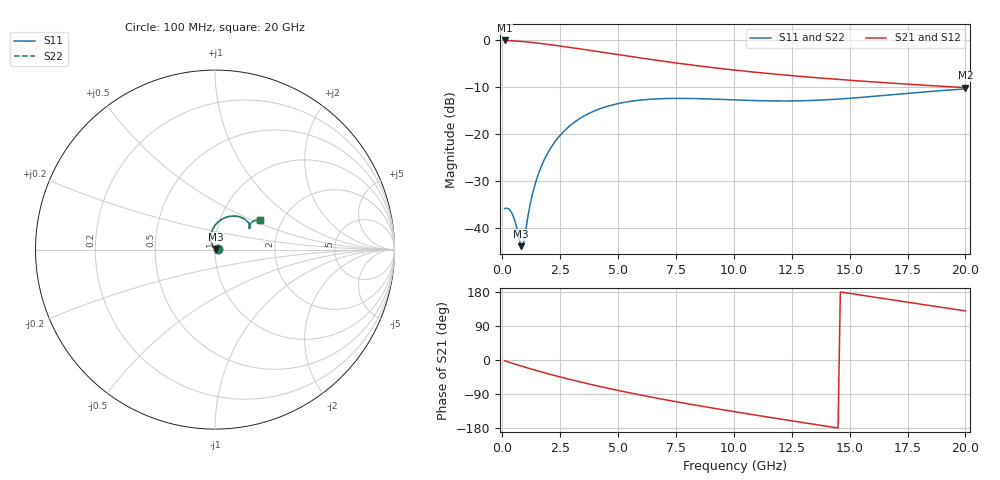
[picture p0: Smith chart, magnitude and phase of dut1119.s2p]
! Touchstone file exported from HFSS 2024.1.0
!  File:  C:/UserFiles/LocalFiles/RDL_TSV_Batchsim/temp_RDL_TSV_1119_1780105869.aedt
!  Generated:  09:58:14 AM May 30, 2026
!  Design:  RDL_TSV
!  Project:  temp_RDL_TSV_1119_1780105869
!  Setup:  Setup1
!  Solution:  Sweep
! Variables:
!  dtsv = 10.68um
!  hbump = 3um
!  htsv = 66.23um
!  ldown = 694.17um
!  lrdl = 354.18um
!  p = 40
!  p1 = 51.52um
!  rhole = 10um
!  subl = 3499.23um
!  t = 450um
!  tdown = 4.08um
!  trdl = 2.23um
!  viad = 10um
!  wdown = 25.38um
!  wrdl = 27.21um
!  xbump = 18um
# GHz S MA R 50.000000
! Terminal data exported
! Port[1] = TM1_1_T1
! Port[2] = TM1_4_T1
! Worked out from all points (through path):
!   200 points, 100 MHz to 20 GHz, reference 50 ohm
!   highest |S21| = -0.15 dB at 100 MHz (marker M1); lowest = -10.1 dB at 20 GHz (marker M2)
!   group delay of S21, straight-line fit = 30.2 ps
!   lowest |S11| = -43.8 dB at 800 MHz (marker M3), VSWR 1.01, Z = 50.5 + j0.431 ohm
!   |S11| at or under -10 dB: start of sweep to end of sweep
!   |S22| runs from -43.8 to -10.4 dB; largest |S21 - S12| = 9.8e-15
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0.1  0.01625 3.0  0.9832 -2.0  0.9832 -2.0  0.01625 3.0
! Gamma 0 0 0 0
! Port Impedance 50 0 50 0
0.3  0.01595 3.8  0.979 -6.0  0.979 -6.0  0.01595 3.8
0.5  0.01298 5.1  0.973 -9.9  0.973 -9.9  0.01298 5.0
0.6  0.01074 9.1  0.9695 -11.8  0.9695 -11.8  0.01074 9.1
0.8  0.00649 41.1  0.9613 -15.6  0.9613 -15.6  0.006482 41.1
0.9  0.006574 75.0  0.9567 -17.5  0.9567 -17.5  0.006564 75.0
1.2  0.01784 117.0  0.9411 -22.9  0.9411 -22.9  0.01783 117.0
1.4  0.02854 119.4  0.9295 -26.5  0.9295 -26.5  0.02854 119.4
1.6  0.04028 117.9  0.9172 -30.0  0.9172 -30.0  0.04029 117.9
1.8  0.05266 114.9  0.9045 -33.4  0.9045 -33.4  0.05267 114.9
2.1  0.07179 109.5  0.8847 -38.3  0.8847 -38.3  0.07181 109.5
2.5  0.09726 101.8  0.8578 -44.7  0.8578 -44.7  0.09729 101.8
3  0.1274 92.4  0.8242 -52.4  0.8242 -52.4  0.1274 92.4
3.5  0.1542 83.7  0.7909 -59.8  0.7909 -59.8  0.1543 83.7
4.9  0.208 63.7  0.7023 -79.0  0.7023 -79.0  0.2082 63.7
6.8  0.2371 45.3  0.5996 -102.2  0.5996 -102.2  0.2374 45.3
8.4  0.2378 36.2  0.5314 -119.7  0.5314 -119.7  0.2382 36.2
10.1  0.23 32.0  0.4751 -137.1  0.4751 -137.1  0.2305 31.9
11.7  0.2247 31.8  0.434 -152.8  0.434 -152.8  0.2251 31.6
13.4  0.2275 33.9  0.3992 -169.1  0.3992 -169.1  0.2278 33.7
16.7  0.2597 36.7  0.3484 159.9  0.3484 159.9  0.2595 36.5
20  0.3013 33.6  0.3109 129.6  0.3109 129.6  0.3007 33.4
